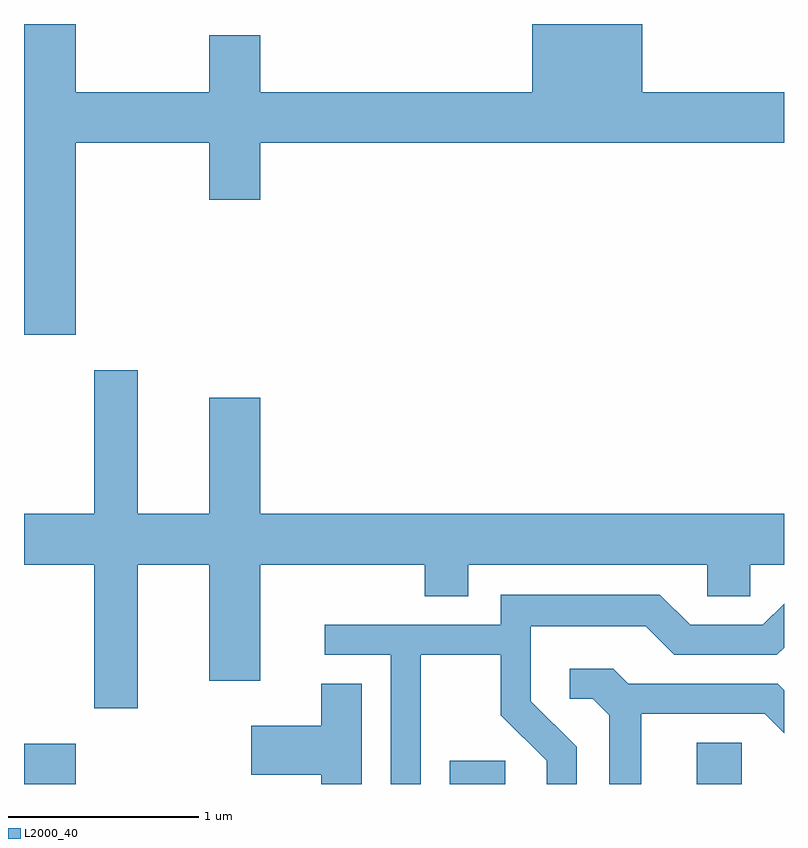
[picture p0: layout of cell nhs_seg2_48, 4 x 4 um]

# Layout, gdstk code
import gdstk
lib = gdstk.Library(unit=1e-6, precision=1e-09)
def R(c, l, rs):  # rectangles x0, y0, x1, y1
    for r in rs: c.add(gdstk.rectangle(r[:2], r[2:], *l))
def P(c, l, *ps):  # polygons
    for p in ps: c.add(gdstk.Polygon(p, *l))
L2000_40 = (2000, 40)

nhs_seg2_48 = lib.new_cell('nhs_seg2_48')
R(nhs_seg2_48, L2000_40, [(185.611,1073.802,185.884,1074.014), (187.851,1073.802,188.144,1073.924), (189.151,1073.802,189.389,1074.019)])
P(nhs_seg2_48, L2000_40, [(185.884,1077.176),(186.586,1077.176),(186.586,1076.876),(186.854,1076.876),(186.854,1077.176),(189.611,1077.176),(189.611,1077.444),(188.864,1077.444),(188.864,1077.802),(188.286,1077.802),(188.286,1077.444),(186.854,1077.444),(186.854,1077.744),(186.586,1077.744),(186.586,1077.444),(185.884,1077.444),(185.884,1077.802),(185.611,1077.802),(185.611,1076.166),(185.884,1076.166)],
  [(186.209,1074.956),(186.586,1074.956),(186.586,1074.346),(186.854,1074.346),(186.854,1074.956),(187.721,1074.956),(187.721,1074.791),(187.949,1074.791),(187.949,1074.956),(189.206,1074.956),(189.206,1074.791),(189.434,1074.791),(189.434,1074.956),(189.611,1074.956),(189.611,1075.224),(186.854,1075.224),(186.854,1075.834),(186.586,1075.834),(186.586,1075.224),(186.209,1075.224),(186.209,1075.979),(185.981,1075.979),(185.981,1075.224),(185.611,1075.224),(185.611,1074.956),(185.981,1074.956),(185.981,1074.201),(186.209,1074.201)],
  [(187.699,1074.481),(188.121,1074.481),(188.121,1074.164),(188.361,1073.924),(188.361,1073.802),(188.519,1073.802),(188.519,1073.997),(188.279,1074.237),(188.279,1074.631),(188.884,1074.631),(189.034,1074.481),(189.572,1074.481),(189.611,1074.52),(189.611,1074.751),(189.499,1074.639),(189.117,1074.639),(188.957,1074.799),(188.121,1074.799),(188.121,1074.639),(187.193,1074.639),(187.193,1074.481),(187.541,1074.481),(187.541,1073.802),(187.699,1073.802)],
  [(188.859,1074.171),(189.509,1074.171),(189.611,1074.069),(189.611,1074.295),(189.577,1074.329),(188.792,1074.329),(188.712,1074.409),(188.483,1074.409),(188.483,1074.251),(188.604,1074.251),(188.691,1074.164),(188.691,1073.802),(188.859,1073.802)],
  [(187.389,1074.329),(187.176,1074.329),(187.176,1074.109),(186.806,1074.109),(186.806,1073.851),(187.176,1073.851),(187.176,1073.802),(187.389,1073.802)])

lib.write_gds('nhs_seg2_48.gds')
